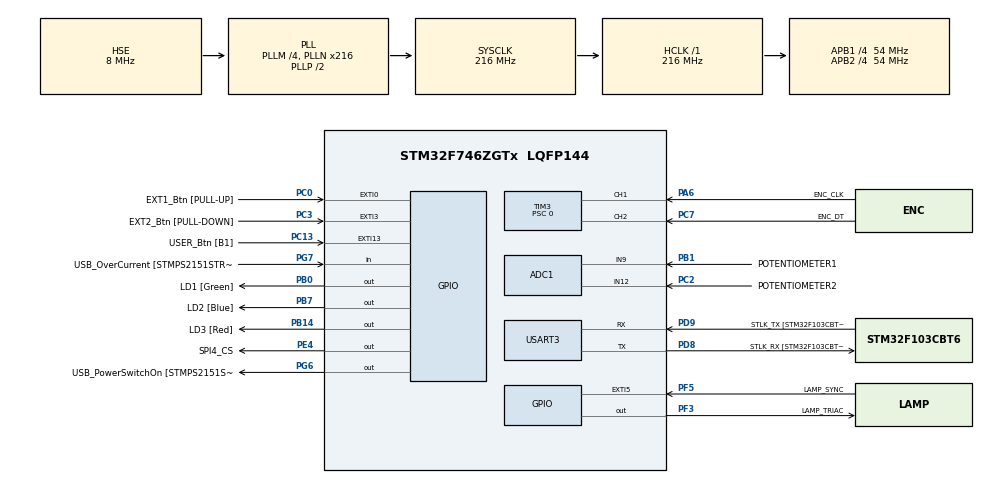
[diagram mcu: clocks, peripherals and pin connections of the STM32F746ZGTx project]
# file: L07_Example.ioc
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ADC1.Channel-0\#ChannelRegularConversion=ADC_CHANNEL_9
ADC1.Channel-1\#ChannelRegularConversion=ADC_CHANNEL_12
ADC1.DMAContinuousRequests=ENABLE
ADC1.EOCSelection=ADC_EOC_SEQ_CONV
ADC1.NbrOfConversion=2
ADC1.NbrOfConversionFlag=1
ADC1.Rank-0\#ChannelRegularConversion=1
ADC1.Rank-1\#ChannelRegularConversion=2
ADC1.SamplingTime-0\#ChannelRegularConversion=ADC_SAMPLETIME_480CYCLES
ADC1.SamplingTime-1\#ChannelRegularConversion=ADC_SAMPLETIME_480CYCLES
ADC1.master=1
Dma.ADC1.0.Direction=DMA_PERIPH_TO_MEMORY
Dma.ADC1.0.FIFOMode=DMA_FIFOMODE_DISABLE
Dma.ADC1.0.Instance=DMA2_Stream0
Dma.ADC1.0.MemDataAlignment=DMA_MDATAALIGN_HALFWORD
Dma.ADC1.0.MemInc=DMA_MINC_ENABLE
Dma.ADC1.0.Mode=DMA_CIRCULAR
Dma.ADC1.0.PeriphDataAlignment=DMA_PDATAALIGN_HALFWORD
Dma.ADC1.0.PeriphInc=DMA_PINC_DISABLE
Dma.ADC1.0.Priority=DMA_PRIORITY_LOW
Dma.Request0=ADC1
Mcu.Family=STM32F7
Mcu.Name=STM32F746ZGTx
Mcu.Package=LQFP144
NVIC.ADC_IRQn=true\:0\:0\:false\:false\:true\:true\:true\:true
NVIC.DMA2_Stream0_IRQn=true\:0\:0\:false\:false\:true\:false\:true\:true
NVIC.PriorityGroup=NVIC_PRIORITYGROUP_4
NVIC.TIM2_IRQn=true\:0\:0\:false\:false\:true\:true\:true\:true
NVIC.USART3_IRQn=true\:0\:0\:false\:false\:true\:true\:true\:true
PA1.GPIO_Label=RMII_REF_CLK [LAN8742A-CZ-TR_REFCLK0]
PA1.Signal=ETH_REF_CLK
PA10.GPIO_Label=USB_ID
PA10.Signal=USB_OTG_FS_ID
PA11.GPIO_Label=USB_DM
PA11.Signal=USB_OTG_FS_DM
PA12.GPIO_Label=USB_DP
PA12.Signal=USB_OTG_FS_DP
PA13.GPIO_Label=TMS
PA13.Mode=Serial_Wire
PA13.Signal=SYS_JTMS-SWDIO
PA14.GPIO_Label=TCK
PA14.Mode=Serial_Wire
PA14.Signal=SYS_JTCK-SWCLK
PA2.GPIO_Label=RMII_MDIO [LAN8742A-CZ-TR_MDIO]
PA2.Signal=ETH_MDIO
PA3.GPIO_Label=LD4 [PWM]
PA3.Signal=S_TIM5_CH4
PA5.GPIO_Label=LED_RGB_R [Red channel]
PA5.Signal=S_TIM2_CH1_ETR
PA6.GPIO_Label=ENC_CLK
PA6.Signal=S_TIM3_CH1
PA7.GPIO_Label=RMII_CRS_DV [LAN8742A-CZ-TR_CRS_DV]
PA7.Signal=ETH_CRS_DV
PA8.GPIO_Label=USB_SOF [TP1]
PA8.Signal=USB_OTG_FS_SOF
PA9.GPIO_Label=USB_VBUS
PA9.Signal=USB_OTG_FS_VBUS
PB0.GPIO_Label=LD1 [Green]
PB0.Signal=GPIO_Output
PB1.GPIO_Label=POTENTIOMETER1
PB1.Signal=ADCx_IN9
PB10.GPIO_Label=LED_RGB_G [Green channel]
PB10.Signal=S_TIM2_CH3
PB11.GPIO_Label=LED_RGB_B [Blue channel]
PB11.Signal=S_TIM2_CH4
PB13.GPIO_Label=RMII_TXD1 [LAN8742A-CZ-TR_TXD1]
PB13.Signal=ETH_TXD1
PB14.GPIO_Label=LD3 [Red]
PB14.Signal=GPIO_Output
PB3.GPIO_Label=SW0
PB3.Signal=SYS_JTDO-SWO
PB7.GPIO_Label=LD2 [Blue]
PB7.Signal=GPIO_Output
PB8.GPIO_Label=BH1750_SCL
PB8.Signal=I2C1_SCL
PB9.GPIO_Label=BH1750_SDA
PB9.Signal=I2C1_SDA
PC0.GPIO_Label=EXT1_Btn [PULL-UP]
PC0.GPIO_ModeDefaultEXTI=GPIO_MODE_IT_FALLING
PC0.GPIO_PuPd=GPIO_PULLUP
PC0.Signal=GPXTI0
PC1.GPIO_Label=RMII_MDC [LAN8742A-CZ-TR_MDC]
PC1.Signal=ETH_MDC
PC13.GPIO_Label=USER_Btn [B1]
PC13.Signal=GPXTI13
PC14/OSC32_IN.Mode=LSE-External-Oscillator
PC14/OSC32_IN.Signal=RCC_OSC32_IN
PC15/OSC32_OUT.Mode=LSE-External-Oscillator
PC15/OSC32_OUT.Signal=RCC_OSC32_OUT
PC2.GPIO_Label=POTENTIOMETER2
PC2.Signal=ADCx_IN12
PC3.GPIO_Label=EXT2_Btn [PULL-DOWN]
PC3.GPIO_PuPd=GPIO_PULLDOWN
PC3.Signal=GPXTI3
PC4.GPIO_Label=RMII_RXD0 [LAN8742A-CZ-TR_RXD0]
PC4.Signal=ETH_RXD0
PC5.GPIO_Label=RMII_RXD1 [LAN8742A-CZ-TR_RXD1]
PC5.Signal=ETH_RXD1
PC7.GPIO_Label=ENC_DT
PC7.Signal=S_TIM3_CH2
PD13.GPIO_Label=HEATER
PD13.Signal=S_TIM4_CH2
PD8.GPIO_Label=STLK_RX [STM32F103CBT6_PA3]
PD8.Mode=Asynchronous
PD8.Signal=USART3_TX
PD9.GPIO_Label=STLK_TX [STM32F103CBT6_PA2]
PD9.Mode=Asynchronous
PD9.Signal=USART3_RX
PE2.Signal=SPI4_SCK
PE4.GPIO_Label=SPI4_CS
PE4.Signal=GPIO_Output
PE5.Signal=SPI4_MISO
PE6.Signal=SPI4_MOSI
PF3.GPIO_Label=LAMP_TRIAC
PF3.GPIO_Speed=GPIO_SPEED_FREQ_HIGH
PF3.Signal=GPIO_Output
PF5.GPIO_Label=LAMP_SYNC
PF5.Signal=GPXTI5
PG11.GPIO_Label=RMII_TX_EN [LAN8742A-CZ-TR_TXEN]
PG11.Signal=ETH_TX_EN
PG13.GPIO_Label=RMII_TXD0 [LAN8742A-CZ-TR_TXD0]
PG13.Signal=ETH_TXD0
PG6.GPIO_Label=USB_PowerSwitchOn [STMPS2151STR_EN]
PG6.Signal=GPIO_Output
PG7.GPIO_Label=USB_OverCurrent [STMPS2151STR_FAULT]
PG7.Signal=GPIO_Input
PH0/OSC_IN.GPIO_Label=MCO [STM32F103CBT6_PA8]
PH0/OSC_IN.Mode=HSE-External-Clock-Source
PH0/OSC_IN.Signal=RCC_OSC_IN
PH1/OSC_OUT.Mode=HSE-External-Clock-Source
PH1/OSC_OUT.Signal=RCC_OSC_OUT
ProjectManager.HeapSize=0x200
ProjectManager.StackSize=0x400
ProjectManager.TargetToolchain=STM32CubeIDE
RCC.48MHZClocksFreq_Value=24000000
RCC.AHBFreq_Value=216000000
RCC.APB1CLKDivider=RCC_HCLK_DIV4
RCC.APB1Freq_Value=54000000
RCC.APB1TimFreq_Value=108000000
RCC.APB2CLKDivider=RCC_HCLK_DIV4
RCC.APB2Freq_Value=54000000
RCC.APB2TimFreq_Value=108000000
RCC.CortexFreq_Value=216000000
RCC.HCLKFreq_Value=216000000
RCC.HSE_VALUE=8000000
RCC.HSI_VALUE=16000000
RCC.PLLM=4
RCC.PLLMUL=RCC_PLL_MUL9
RCC.PLLN=216
RCC.PLLQ=3
RCC.PLLSourceVirtual=RCC_PLLSOURCE_HSE
RCC.PRESCALERUSB=RCC_USBCLKSOURCE_PLL_DIV1_5
RCC.SYSCLKFreq_VALUE=216000000
RCC.SYSCLKSource=RCC_SYSCLKSOURCE_PLLCLK
RCC.SYSCLKSourceVirtual=RCC_SYSCLKSOURCE_PLLCLK
RCC.USART3CLockSelection=RCC_USART3CLKSOURCE_SYSCLK
RCC.USBFreq_Value=144000000
RCC.VCOOutputFreq_Value=432000000
SH.ADCx_IN12.0=ADC1_IN12,IN12
SH.ADCx_IN9.0=ADC1_IN9,IN9
SH.S_TIM2_CH1_ETR.0=TIM2_CH1
SH.S_TIM2_CH3.0=TIM2_CH3
SH.S_TIM2_CH4.0=TIM2_CH4
SH.S_TIM3_CH1.0=TIM3_CH1,Encoder_Interface
SH.S_TIM3_CH2.0=TIM3_CH2,Encoder_Interface
SH.S_TIM4_CH2.0=TIM4_CH2
SH.S_TIM5_CH4.0=TIM5_CH4
TIM2.Period=99999
TIM2.Prescaler=107
TIM3.EncoderMode=TIM_ENCODERMODE_TI12
TIM3.IC1Filter=15
TIM3.IC2Filter=15
TIM3.Period=400
TIM3.Prescaler=0
USART3.VirtualMode-Asynchronous=VM_ASYNC
VP_TIM2_VS_ClockSourceINT.Mode=Internal
board=NUCLEO-F746ZG

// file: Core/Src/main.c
/* USER CODE BEGIN Header */
/**
  ******************************************************************************
  * @file           : main.c
  * @brief          : Main program body
  ******************************************************************************
  * @attention
  *
  * Copyright (c) 2022 STMicroelectronics.
  * All rights reserved.
  *
  * This software is licensed under terms that can be found in the LICENSE file
  * in the root directory of this software component.
  * If no LICENSE file comes with this software, it is provided AS-IS.
  *
  ******************************************************************************
  */
/* USER CODE END Header */
#include "main.h"
#include "adc.h"
#include "dma.h"
#include "tim.h"
#include "usart.h"
#include "gpio.h"

/* USER CODE BEGIN Includes */
#include "led_config.h"
#include "btn_config.h"
#include "disp_config.h"
#include "aio.h"
/* USER CODE END Includes */

/* USER CODE BEGIN PD */
#define TASK 6
/* USER CODE END PD */

/* USER CODE BEGIN PV */
uint16_t ADC1_DMA_BUF[ADC1_NUMBER_OF_CONV];
float pot_volts[ADC1_NUMBER_OF_CONV];
/* USER CODE END PV */

void SystemClock_Config(void);

/* USER CODE BEGIN 0 */

/**
  * @brief  Period elapsed callback in non-blocking mode
  * @param  htim TIM handle
  * @retval None
  */
void HAL_TIM_PeriodElapsedCallback(TIM_HandleTypeDef *htim)
{
  if(htim == &htim2)
  {
    LED_DIO_Toggle(&hld1);

#if TASK == 4

    // Blocking mode
    HAL_ADC_Start(&hadc1);

    // Iterate over all conversions
    for(hadc1.NbrOfCurrentConversionRank = 0;
        hadc1.NbrOfCurrentConversionRank < hadc1.Init.NbrOfConversion;
        hadc1.NbrOfCurrentConversionRank++)
    {
      // Poll for i-ranked conversion
      if (HAL_ADC_PollForConversion(&hadc1, ADC1_TIMEOUT) == HAL_OK)
      {
        // Reading i-ranked conversion result from Data Register
        pot_volts[hadc1.NbrOfCurrentConversionRank] = ADC_REG2VOLTAGE(HAL_ADC_GetValue(&hadc1));
      }
    }

#elif TASK == 5

    // Non-blocking mode #1: interrupt
    HAL_ADC_Start_IT(&hadc1);

#elif TASK == 6

    // Non-blocking mode #2: direct memory access
    HAL_ADC_Start_DMA(&hadc1, (uint32_t*)ADC1_DMA_BUF, ADC1_NUMBER_OF_CONV);

#endif

  }

}

/**
  * @brief  Regular conversion complete callback in non blocking mode
  * @param  hadc pointer to a ADC_HandleTypeDef structure that contains
  *         the configuration information for the specified ADC.
  * @retval None
  */
void HAL_ADC_ConvCpltCallback(ADC_HandleTypeDef* hadc)
{
  if(hadc == &hadc1)
  {
#if TASK == 5
    // Reading i-ranked conversion result from Data Register
    pot_volts[hadc1.NbrOfCurrentConversionRank] = ADC_REG2VOLTAGE(HAL_ADC_GetValue(&hadc1));

    // Increment rank
    hadc->NbrOfCurrentConversionRank++;
    if( hadc->NbrOfCurrentConversionRank == hadc->Init.NbrOfConversion )
      hadc->NbrOfCurrentConversionRank = 0;
#elif TASK == 6
    // Iterate over all conversions
    for(hadc1.NbrOfCurrentConversionRank = 0;
        hadc1.NbrOfCurrentConversionRank < hadc1.Init.NbrOfConversion;
        hadc1.NbrOfCurrentConversionRank++)
    {
      // Reading i-ranked conversion result from DMA buffer
      pot_volts[hadc1.NbrOfCurrentConversionRank] = ADC_REG2VOLTAGE(ADC1_DMA_BUF[hadc1.NbrOfCurrentConversionRank]);
    }
#endif
  }
}

/* USER CODE END 0 */

int main(void)
{

  /* MCU Configuration--------------------------------------------------------*/

  /* Reset of all peripherals, Initializes the Flash interface and the Systick. */
  HAL_Init();

  /* Configure the system clock */
  SystemClock_Config();

  /* Initialize all configured peripherals */
  MX_GPIO_Init();
  MX_DMA_Init();
  MX_TIM3_Init();
  MX_TIM2_Init();
  MX_USART3_UART_Init();
  MX_ADC1_Init();

  /* Infinite loop */
  while (1)
  {

  }
}

void SystemClock_Config(void)
{
  RCC_OscInitTypeDef RCC_OscInitStruct = {0};
  RCC_ClkInitTypeDef RCC_ClkInitStruct = {0};

  /** Configure LSE Drive Capability
  */
  HAL_PWR_EnableBkUpAccess();

  /** Configure the main internal regulator output voltage
  */
  __HAL_RCC_PWR_CLK_ENABLE();
  __HAL_PWR_VOLTAGESCALING_CONFIG(PWR_REGULATOR_VOLTAGE_SCALE1);

  /** Initializes the RCC Oscillators according to the specified parameters
  * in the RCC_OscInitTypeDef structure.
  */
  RCC_OscInitStruct.OscillatorType = RCC_OSCILLATORTYPE_HSE;
  RCC_OscInitStruct.HSEState = RCC_HSE_BYPASS;
  RCC_OscInitStruct.PLL.PLLState = RCC_PLL_ON;
  RCC_OscInitStruct.PLL.PLLSource = RCC_PLLSOURCE_HSE;
  RCC_OscInitStruct.PLL.PLLM = 4;
  RCC_OscInitStruct.PLL.PLLN = 216;
  RCC_OscInitStruct.PLL.PLLP = RCC_PLLP_DIV2;
  RCC_OscInitStruct.PLL.PLLQ = 3;
  if (HAL_RCC_OscConfig(&RCC_OscInitStruct) != HAL_OK)
  {
    Error_Handler();
  }

  /** Activate the Over-Drive mode
  */
  if (HAL_PWREx_EnableOverDrive() != HAL_OK)
  {
    Error_Handler();
  }

  /** Initializes the CPU, AHB and APB buses clocks
  */
  RCC_ClkInitStruct.ClockType = RCC_CLOCKTYPE_HCLK|RCC_CLOCKTYPE_SYSCLK
                              |RCC_CLOCKTYPE_PCLK1|RCC_CLOCKTYPE_PCLK2;
  RCC_ClkInitStruct.SYSCLKSource = RCC_SYSCLKSOURCE_PLLCLK;
  RCC_ClkInitStruct.AHBCLKDivider = RCC_SYSCLK_DIV1;
  RCC_ClkInitStruct.APB1CLKDivider = RCC_HCLK_DIV4;
  RCC_ClkInitStruct.APB2CLKDivider = RCC_HCLK_DIV4;

  if (HAL_RCC_ClockConfig(&RCC_ClkInitStruct, FLASH_LATENCY_7) != HAL_OK)
  {
    Error_Handler();
  }
}

void Error_Handler(void)
{
  __disable_irq();
  while (1)
  {
  }
}
